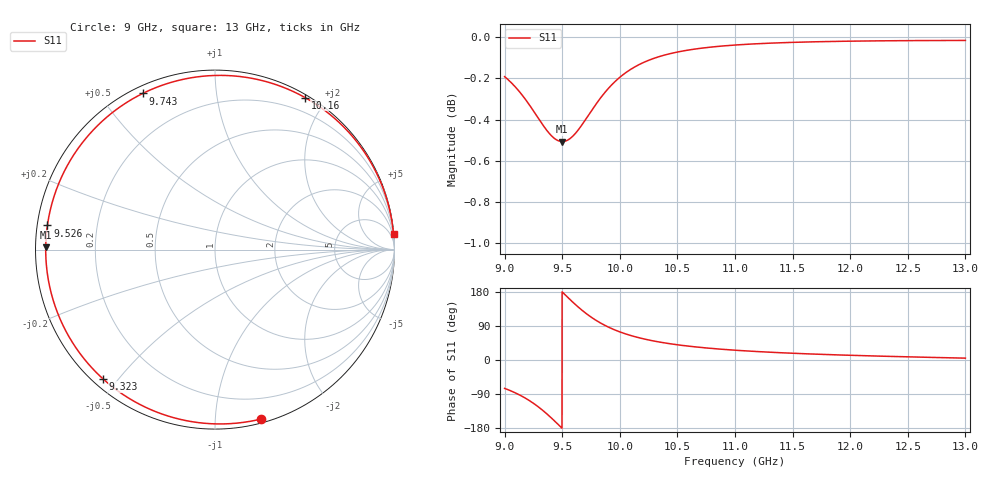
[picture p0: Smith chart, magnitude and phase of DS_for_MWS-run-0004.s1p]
! TOUCHSTONE file generated by CST DESIGN STUDIO
! Date and time: Tue Feb  4 13:36:36 2025
! Project name: C:\Work\MatlabApps\UnitCellOptimizationMatlab\CST\unitcell.cst
! Tree item: Tasks\Sweep1\SPara1\S-Parameters
! Header version: 2024
! Port assignment regex: !\s*Touchstone port\s*([0-9]+)\s*=\s*(CST MWS port|CST DES external port|CST DES block port)\s*(.+)\s* \(\"(.*)\"\)(\s*mode\s*([0-9]+))?.*
! Touchstone port assignment:
! Touchstone port 1 = CST DES external port 1 ("")
# GHz S MA R 50
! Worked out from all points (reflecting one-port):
!   4001 points, 9 GHz to 13 GHz, reference 50 ohm
!   lowest |S11| = -0.5 dB at 9.501 GHz (marker M1), VSWR 34.26, Z = 1.46 + j0.337 ohm
!   phase of S11 starts at -75 deg and turns -280 deg over the sweep
!   S11 on the Smith chart (normalised r, x): 9 GHz: 0.03, -1.30; 9.323 GHz: 0.03, -0.46; 9.526 GHz: 0.03, +0.07; 9.743 GHz: 0.03, +0.64; 10.16 GHz: 0.03, +1.76; 13 GHz: 0, +23
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9  0.9782 -74.9
9.085  0.9731 -85.6
9.186  0.9654 -101.7
9.257  0.959 -115.7
9.323  0.9529 -130.9
9.37  0.9489 -143.1
9.42  0.9456 -156.9
9.461  0.9439 -168.9
9.5  0.9433 179.5
9.501  0.9433 179.2
9.526  0.9435 171.8
9.579  0.9454 156.3
9.639  0.9494 139.8
9.69  0.9538 126.9
9.743  0.9587 114.9
9.796  0.9635 104.2
9.854  0.9683 94.0
9.926  0.9735 83.3
10  0.9778 74.2
10.159  0.9845 59.3
10.314  0.9887 49.0
10.5  0.9918 40.2
10.722  0.994 32.6
11  0.9957 25.8
11.5  0.9971 17.8
12  0.9978 12.4
12.5  0.9981 8.3
13  0.9982 4.9
